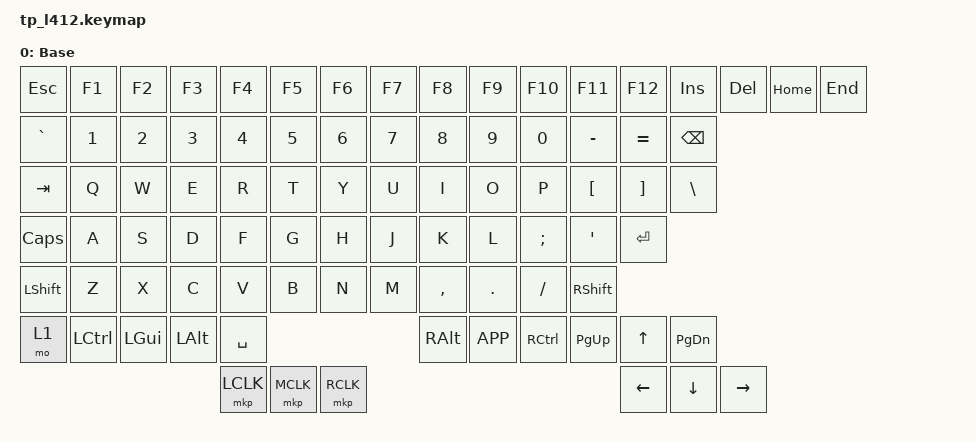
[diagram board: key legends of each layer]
#include <behaviors.dtsi>
#include <dt-bindings/zmk/keys.h>
#include <dt-bindings/zmk/pointing.h>

/ {
    keymap {
        compatible = "zmk,keymap";

        // --------------------------------------------------------------------------------------------------
        // |  ESC  | F1 | F2 | F3 | F4 | F5 | F6 | F7 | F8 | F9 | F10 | F11 | F12 | INS | DEL | HOME | END  |
        // |   `   |  1  |  2  |  3  |  4  |  5  |  6  |  7  |  8  |  9  |  0  |  -  |  =  |     BKSP       |
        // |  TAB     |  Q  |  W  |  E  |  R  |  T  |  Y  |  U  |  I  |  O  |  P  |  [  |  ]  |     \       |
        // |  LCTRL    |  A  |  S  |  D  |  F  |  G  |  H  |  J  |  K  |  L  |  ;  |  '  |      ENTER       |
        // |  SHIFT       |  Z  |  X  |  C  |  V   |  B  |  N  |  M  |  ,  |  .  |  /  |        RSHFT       |
        // | FN | LCTRL | LGUI | LALT |             SPACE            | RALT | FN | RCTRL | PGUP | UP | PGDN |
        // ---------------------------| MS_LEFT |  MS_MID | MS_RIGHT |-------------------| LEFT | DN | RGHT |
        // --------------------------------------------------------------------------------------------------

        default_layer { // Layer 0
            display-name = "Base";
            bindings = <
                &kp ESC   &kp F1    &kp F2   &kp F3   &kp F4    &kp F5 &kp F6 &kp F7 &kp F8    &kp F9  &kp F10   &kp F11   &kp F12   &kp INS  &kp DEL &kp HOME &kp END
                &kp GRAVE &kp N1    &kp N2   &kp N3   &kp N4    &kp N5 &kp N6 &kp N7 &kp N8    &kp N9  &kp N0    &kp MINUS &kp EQUAL &kp BSPC
                &kp TAB   &kp Q     &kp W    &kp E    &kp R     &kp T  &kp Y  &kp U  &kp I     &kp O   &kp P     &kp LBKT  &kp RBKT  &kp BSLH
                &kp CAPS  &kp A     &kp S    &kp D    &kp F     &kp G  &kp H  &kp J  &kp K     &kp L   &kp SEMI  &kp SQT   &kp RET
                &kp LSHFT &kp Z     &kp X    &kp C    &kp V     &kp B  &kp N  &kp M  &kp COMMA &kp DOT &kp SLASH &kp RSHFT 
                &mo 1     &kp LCTRL &kp LGUI &kp LALT &kp SPACE                      &kp RALT  &kp K_APP   &kp RCTRL &kp PG_UP  &kp UP   &kp PG_DN
                                                      &mkp LCLK &mkp MCLK &mkp RCLK                                  &kp LEFT   &kp DOWN  &kp RIGHT
            >;
        };
    };
 };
